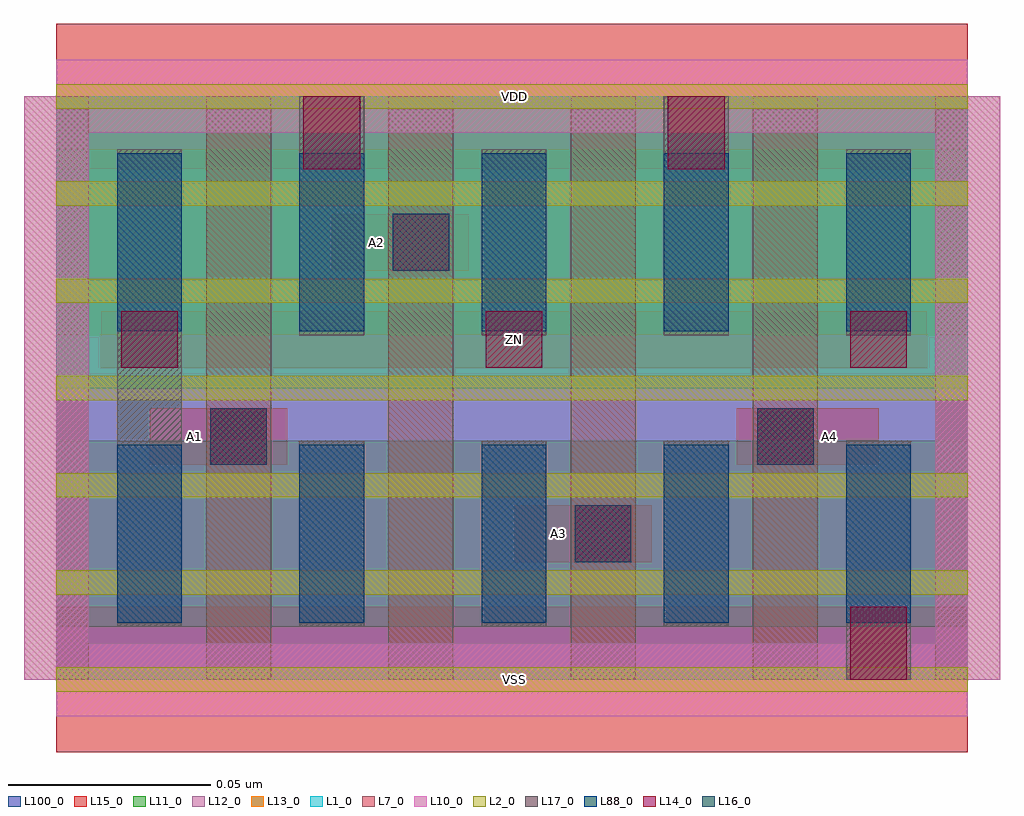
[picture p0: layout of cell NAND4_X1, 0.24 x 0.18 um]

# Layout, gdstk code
import gdstk
lib = gdstk.Library(unit=1e-6, precision=1e-09)
def R(c, l, rs):  # rectangles x0, y0, x1, y1
    for r in rs: c.add(gdstk.rectangle(r[:2], r[2:], *l))
def A(c, l, x, y, w, h, nx, ny, dx, dy):  # array of equal rectangles
    R(c, l, [(x+i*dx, y+j*dy, x+i*dx+w, y+j*dy+h) for i in range(nx) for j in range(ny)])
def P(c, l, *ps):  # polygons
    for p in ps: c.add(gdstk.Polygon(p, *l))
L1_0 = (1, 0)
L2_0 = (2, 0)
L7_0 = (7, 0)
L10_0 = (10, 0)
L11_0 = (11, 0)
L12_0 = (12, 0)
L13_0 = (13, 0)
L14_0 = (14, 0)
L15_0 = (15, 0)
L16_0 = (16, 0)
L17_0 = (17, 0)
L88_0 = (88, 0)
L100_0 = (100, 0)

nand4_x1 = lib.new_cell('NAND4_X1')
R(nand4_x1, L1_0, [(0,0.072,0.225,0.144)])
A(nand4_x1, L2_0, 0, -0.003, 0.225, 0.006, 1, 7, 0, 0.024)
A(nand4_x1, L7_0, -0.008, 0, 0.016, 0.144, 6, 1, 0.045, 0)
P(nand4_x1, L10_0, [(0,-0.009),(0,0),(-0.008,0),(-0.008,0.135),(0.008,0.135),(0.008,0.009),(0.217,0.009),(0.217,0.135),(-0.008,0.135),(-0.008,0.144),(0,0.144),(0,0.153),(0.225,0.153),(0.225,0.144),(0.233,0.144),(0.233,0),(0.225,0),(0.225,-0.009)])
R(nand4_x1, L11_0, [(0,0.013,0.225,0.059), (0,0.085,0.225,0.131)])
R(nand4_x1, L12_0, [(0,0,0.225,0.072)])
R(nand4_x1, L13_0, [(0,0.072,0.225,0.144)])
A(nand4_x1, L14_0, 0.016, 0.077, 0.014, 0.014, 3, 1, 0.09, 0)
R(nand4_x1, L14_0, [(0.196,0,0.21,0.018), (0.128,0.029,0.142,0.043), (0.038,0.053,0.052,0.067), (0.173,0.053,0.187,0.067), (0.083,0.101,0.097,0.115), (0.061,0.126,0.075,0.144), (0.151,0.126,0.165,0.144)])
R(nand4_x1, L15_0, [(0,-0.018,0.225,0.018), (0.113,0.029,0.147,0.043), (0.023,0.053,0.057,0.067), (0.168,0.053,0.203,0.067), (0.011,0.077,0.215,0.091), (0.068,0.101,0.102,0.115), (0,0.126,0.225,0.162)])
R(nand4_x1, L16_0, [(0.128,0.029,0.142,0.043), (0.038,0.053,0.052,0.067), (0.173,0.053,0.187,0.067), (0.083,0.101,0.097,0.115)])
A(nand4_x1, L17_0, 0.06, 0.013, 0.016, 0.046, 3, 1, 0.045, 0)
R(nand4_x1, L17_0, [(0.195,0,0.211,0.059), (0.015,0.013,0.031,0.131), (0.06,0.085,0.076,0.144), (0.105,0.085,0.121,0.131), (0.15,0.085,0.166,0.144), (0.195,0.085,0.211,0.131)])
A(nand4_x1, L88_0, 0.015, 0.014, 0.016, 0.044, 5, 2, 0.045, 0.072)
R(nand4_x1, L100_0, [(0,0,0.225,0.144)])
nand4_x1.add(gdstk.Label('A1', (0.034,0.06), layer=15, texttype=251))
nand4_x1.add(gdstk.Label('VSS', (0.113,0), layer=15, texttype=251))
nand4_x1.add(gdstk.Label('VDD', (0.113,0.144), layer=15, texttype=251))
nand4_x1.add(gdstk.Label('A2', (0.079,0.108), layer=15, texttype=251))
nand4_x1.add(gdstk.Label('VSS', (0.113,0), layer=15, texttype=251))
nand4_x1.add(gdstk.Label('VDD', (0.113,0.144), layer=15, texttype=251))
nand4_x1.add(gdstk.Label('A3', (0.124,0.036), layer=15, texttype=251))
nand4_x1.add(gdstk.Label('VSS', (0.113,0), layer=15, texttype=251))
nand4_x1.add(gdstk.Label('VDD', (0.113,0.144), layer=15, texttype=251))
nand4_x1.add(gdstk.Label('A4', (0.191,0.06), layer=15, texttype=251))
nand4_x1.add(gdstk.Label('VSS', (0.113,0), layer=15, texttype=251))
nand4_x1.add(gdstk.Label('VDD', (0.113,0.144), layer=15, texttype=251))
nand4_x1.add(gdstk.Label('ZN', (0.113,0.084), layer=15, texttype=251))
nand4_x1.add(gdstk.Label('VSS', (0.113,0), layer=15, texttype=251))
nand4_x1.add(gdstk.Label('VDD', (0.113,0.144), layer=15, texttype=251))
nand4_x1.add(gdstk.Label('VSS', (0.113,0), layer=3, texttype=251))
nand4_x1.add(gdstk.Label('VSS', (0.113,0), layer=3, texttype=251))
nand4_x1.add(gdstk.Label('VSS', (0.113,0), layer=3, texttype=251))
nand4_x1.add(gdstk.Label('VSS', (0.113,0), layer=3, texttype=251))
nand4_x1.add(gdstk.Label('VSS', (0.113,0), layer=3, texttype=251))
nand4_x1.add(gdstk.Label('VDD', (0.113,0.144), layer=1, texttype=251))
nand4_x1.add(gdstk.Label('VDD', (0.113,0.144), layer=1, texttype=251))
nand4_x1.add(gdstk.Label('VDD', (0.113,0.144), layer=1, texttype=251))
nand4_x1.add(gdstk.Label('VDD', (0.113,0.144), layer=1, texttype=251))
nand4_x1.add(gdstk.Label('VDD', (0.113,0.144), layer=1, texttype=251))

lib.write_gds('NAND4_X1.gds')
